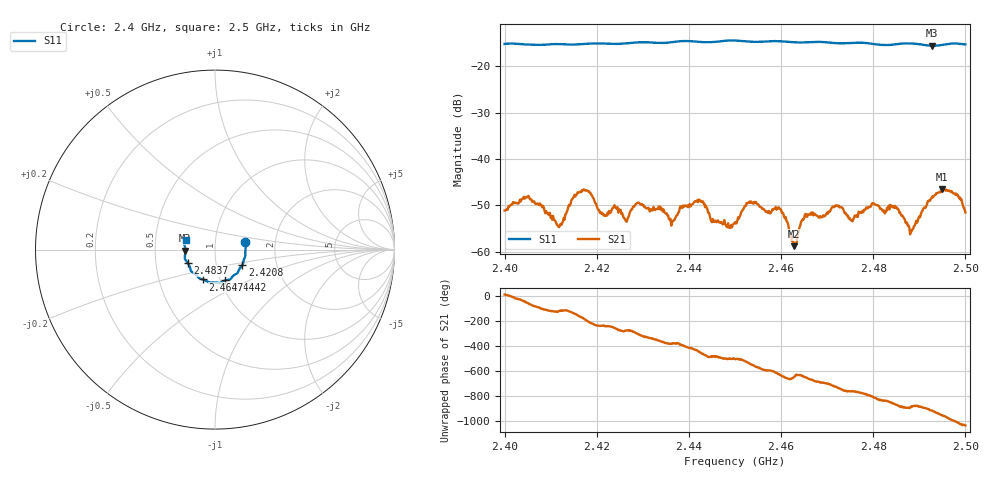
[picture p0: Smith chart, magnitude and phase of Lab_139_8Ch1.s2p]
# Hz S RI R 50
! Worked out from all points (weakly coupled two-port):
!   601 points, 2.4 GHz to 2.5 GHz, reference 50 ohm
!   highest |S21| = -46.53 dB at 2.4948 GHz (marker M1); lowest = -58.8 dB at 2.4628 GHz (marker M2)
!   lowest |S11| = -15.6 dB at 2.4928 GHz (marker M3), VSWR 1.40, Z = 35.8 - j0.376 ohm
!   |S11| at or under -10 dB: start of sweep to end of sweep
!   S12 and S22 are empty: the file has one direction only
!   S11 on the Smith chart (normalised r, x): 2.4 GHz: 1.40, +0.12; 2.4208 GHz: 1.33, -0.24; 2.4442 GHz: 1.05, -0.37; 2.4647 GHz: 0.83, -0.29; 2.4837 GHz: 0.73, -0.11; 2.5 GHz: 0.72, +0.08
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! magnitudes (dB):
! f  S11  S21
! 2.4 GHz  -15.2  -51.1
! 2.4052 GHz  -15.4  -47.9
! 2.4118 GHz  -15.3  -54.7
! 2.4167 GHz  -15.3  -47.1
! 2.4208 GHz  -15.1  -51.4
! 2.4263 GHz  -15.1  -53.4
! 2.4333 GHz  -15.0  -50.7
! 2.4363 GHz  -14.9  -53.5
! 2.4417 GHz  -14.7  -49.1
! 2.4442 GHz  -14.9  -51.5
! 2.45 GHz  -14.5  -53.6
! 2.453 GHz  -14.7  -49.4
! 2.4593 GHz  -14.6  -50.6
! 2.4628 GHz  -14.9  -58.8
! 2.4647 GHz  -14.9  -53.0
! 2.4667 GHz  -14.8  -52.0
! 2.4833 GHz  -15.5  -50.1
! 2.4837 GHz  -15.4  -49.9
! 2.4883 GHz  -15.1  -55.5
! 2.4928 GHz  -15.6  -48.1
! 2.4948 GHz  -15.5  -46.5
! 2.5 GHz  -15.3  -51.5
